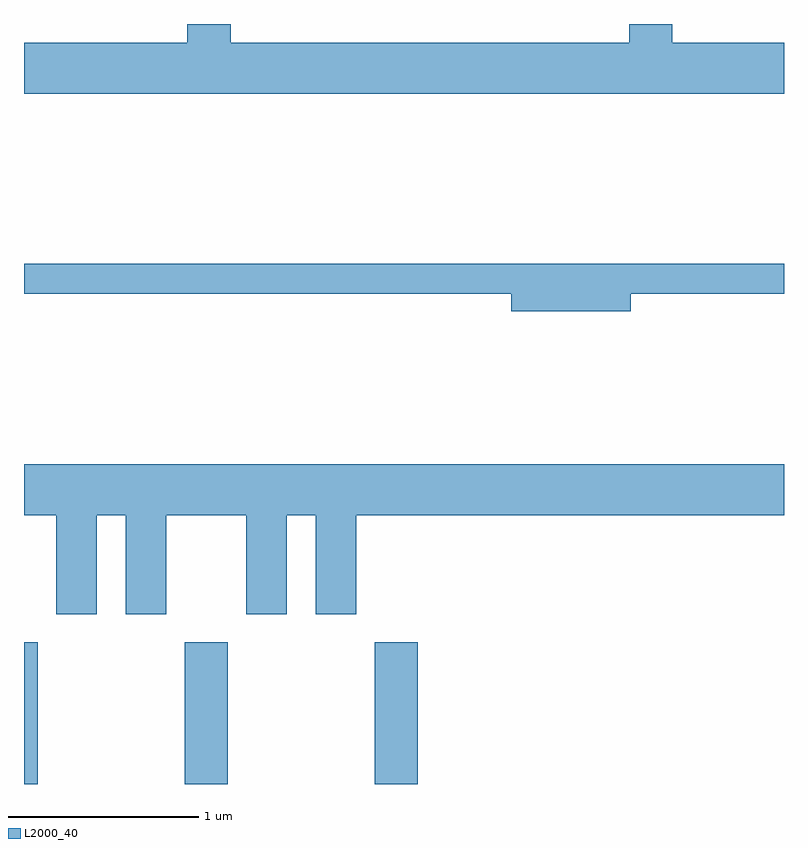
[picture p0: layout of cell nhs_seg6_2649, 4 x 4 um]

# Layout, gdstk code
import gdstk
lib = gdstk.Library(unit=1e-6, precision=1e-09)
def R(c, l, rs):  # rectangles x0, y0, x1, y1
    for r in rs: c.add(gdstk.rectangle(r[:2], r[2:], *l))
def P(c, l, *ps):  # polygons
    for p in ps: c.add(gdstk.Polygon(p, *l))
L2000_40 = (2000, 40)

nhs_seg6_2649 = lib.new_cell('nhs_seg6_2649')
R(nhs_seg6_2649, L2000_40, [(265.611,1564.162,265.684,1564.909), (266.456,1564.162,266.684,1564.909), (267.456,1564.162,267.684,1564.909)])
P(nhs_seg6_2649, L2000_40, [(269.611,1568.064),(269.024,1568.064),(269.024,1568.162),(268.796,1568.162),(268.796,1568.064),(266.699,1568.064),(266.699,1568.162),(266.471,1568.162),(266.471,1568.064),(265.611,1568.064),(265.611,1567.796),(269.611,1567.796)],
  [(268.804,1566.741),(269.611,1566.741),(269.611,1566.899),(265.611,1566.899),(265.611,1566.741),(268.176,1566.741),(268.176,1566.651),(268.804,1566.651)],
  [(265.994,1565.576),(266.146,1565.576),(266.146,1565.056),(266.359,1565.056),(266.359,1565.576),(266.781,1565.576),(266.781,1565.056),(266.994,1565.056),(266.994,1565.576),(267.146,1565.576),(267.146,1565.056),(267.359,1565.056),(267.359,1565.576),(269.611,1565.576),(269.611,1565.844),(265.611,1565.844),(265.611,1565.576),(265.781,1565.576),(265.781,1565.056),(265.994,1565.056)])

lib.write_gds('nhs_seg6_2649.gds')
